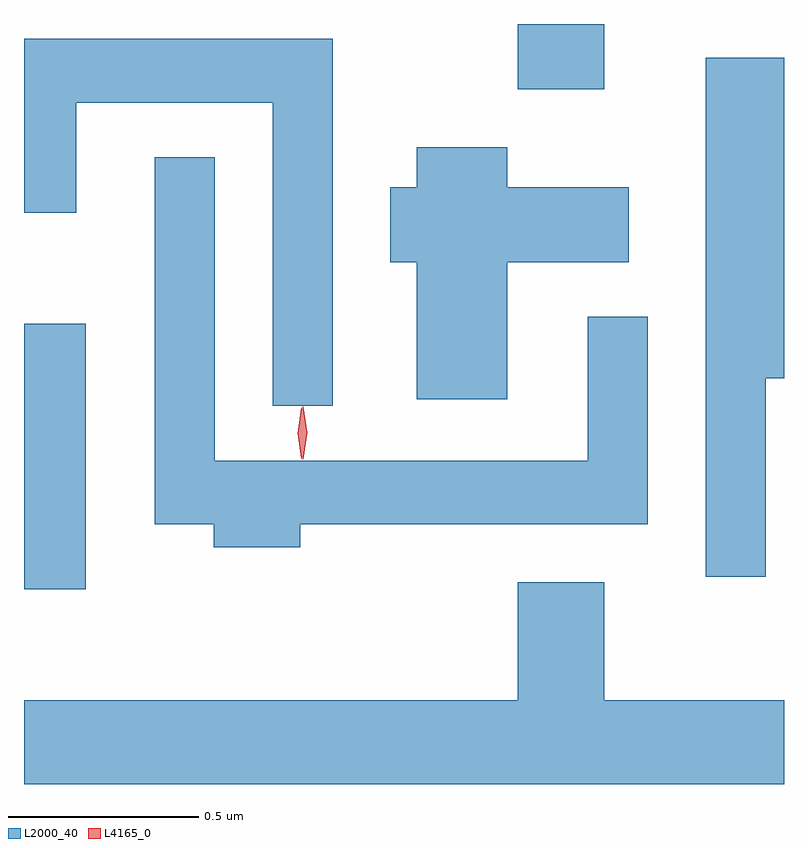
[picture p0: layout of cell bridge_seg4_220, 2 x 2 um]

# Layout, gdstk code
import gdstk
lib = gdstk.Library(unit=1e-6, precision=1e-09)
def R(c, l, rs):  # rectangles x0, y0, x1, y1
    for r in rs: c.add(gdstk.rectangle(r[:2], r[2:], *l))
def P(c, l, *ps):  # polygons
    for p in ps: c.add(gdstk.Polygon(p, *l))
L2000_40 = (2000, 40)
L4165_0 = (4165, 0)

bridge_seg4_220 = lib.new_cell('bridge_seg4_220')
R(bridge_seg4_220, L2000_40, [(1036.362,1313.056,1036.524,1313.754), (1037.661,1314.371,1037.889,1314.543)])
P(bridge_seg4_220, L2000_40, [(1037.174,1314.504),(1036.362,1314.504),(1036.362,1314.046),(1036.499,1314.046),(1036.499,1314.336),(1037.016,1314.336),(1037.016,1313.538),(1037.174,1313.538)],
  [(1038.314,1313.611),(1038.362,1313.611),(1038.362,1314.454),(1038.156,1314.454),(1038.156,1313.088),(1038.314,1313.088)],
  [(1037.634,1313.916),(1037.954,1313.916),(1037.954,1314.114),(1037.634,1314.114),(1037.634,1314.219),(1037.396,1314.219),(1037.396,1314.114),(1037.326,1314.114),(1037.326,1313.916),(1037.396,1313.916),(1037.396,1313.556),(1037.634,1313.556)],
  [(1037.089,1313.226),(1038.004,1313.226),(1038.004,1313.773),(1037.846,1313.773),(1037.846,1313.394),(1036.864,1313.394),(1036.864,1314.193),(1036.706,1314.193),(1036.706,1313.226),(1036.861,1313.226),(1036.861,1313.166),(1037.089,1313.166)],
  [(1038.362,1312.764),(1037.889,1312.764),(1037.889,1313.074),(1037.661,1313.074),(1037.661,1312.764),(1036.362,1312.764),(1036.362,1312.543),(1038.362,1312.543)])
P(bridge_seg4_220, L4165_0, [(1037.097,1313.397),(1037.096,1313.398),(1037.087,1313.467),(1037.096,1313.536),(1037.097,1313.536),(1037.097,1313.536),(1037.107,1313.467),(1037.097,1313.398)],
  [(1037.093,1313.399),(1037.092,1313.4),(1037.083,1313.466),(1037.092,1313.532),(1037.093,1313.533),(1037.093,1313.532),(1037.103,1313.466),(1037.093,1313.4)])

lib.write_gds('bridge_seg4_220.gds')
